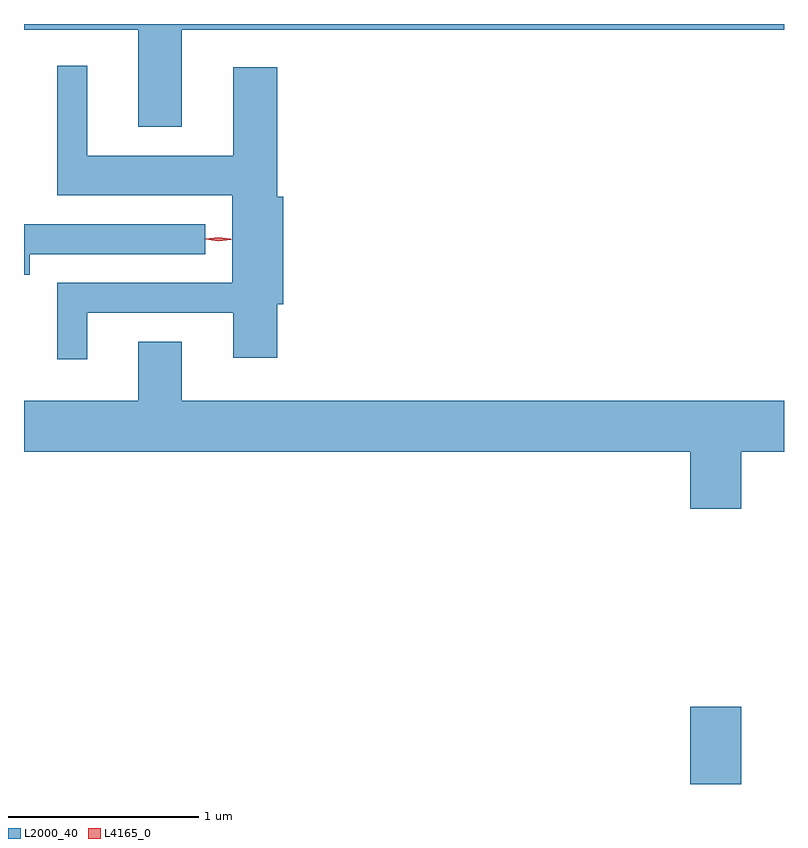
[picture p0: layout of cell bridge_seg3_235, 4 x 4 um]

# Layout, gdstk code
import gdstk
lib = gdstk.Library(unit=1e-6, precision=1e-09)
def R(c, l, rs):  # rectangles x0, y0, x1, y1
    for r in rs: c.add(gdstk.rectangle(r[:2], r[2:], *l))
def P(c, l, *ps):  # polygons
    for p in ps: c.add(gdstk.Polygon(p, *l))
L2000_40 = (2000, 40)
L4165_0 = (4165, 0)

bridge_seg3_235 = lib.new_cell('bridge_seg3_235')
R(bridge_seg3_235, L2000_40, [(914.376,1137.587,914.644,1137.994)])
P(bridge_seg3_235, L2000_40, [(911.699,1141.556),(914.87,1141.556),(914.87,1141.587),(910.87,1141.587),(910.87,1141.556),(911.471,1141.556),(911.471,1141.046),(911.699,1141.046)],
  [(911.204,1140.066),(911.971,1140.066),(911.971,1139.831),(912.204,1139.831),(912.204,1140.111),(912.234,1140.111),(912.234,1140.679),(912.204,1140.679),(912.204,1141.359),(911.971,1141.359),(911.971,1140.894),(911.204,1140.894),(911.204,1141.368),(911.046,1141.368),(911.046,1140.686),(911.966,1140.686),(911.966,1140.224),(911.046,1140.224),(911.046,1139.823),(911.204,1139.823)],
  [(910.899,1140.376),(911.823,1140.376),(911.823,1140.534),(910.87,1140.534),(910.87,1140.266),(910.899,1140.266)],
  [(914.644,1139.336),(914.87,1139.336),(914.87,1139.604),(911.699,1139.604),(911.699,1139.914),(911.471,1139.914),(911.471,1139.604),(910.87,1139.604),(910.87,1139.336),(914.376,1139.336),(914.376,1139.036),(914.644,1139.036)])
P(bridge_seg3_235, L4165_0, [(911.893,1140.444),(911.824,1140.453),(911.824,1140.454),(911.824,1140.454),(911.893,1140.463),(911.961,1140.454),(911.962,1140.453),(911.961,1140.452)],
  [(911.892,1140.445),(911.827,1140.454),(911.827,1140.455),(911.827,1140.456),(911.892,1140.465),(911.957,1140.456),(911.957,1140.455),(911.957,1140.454)])

lib.write_gds('bridge_seg3_235.gds')
